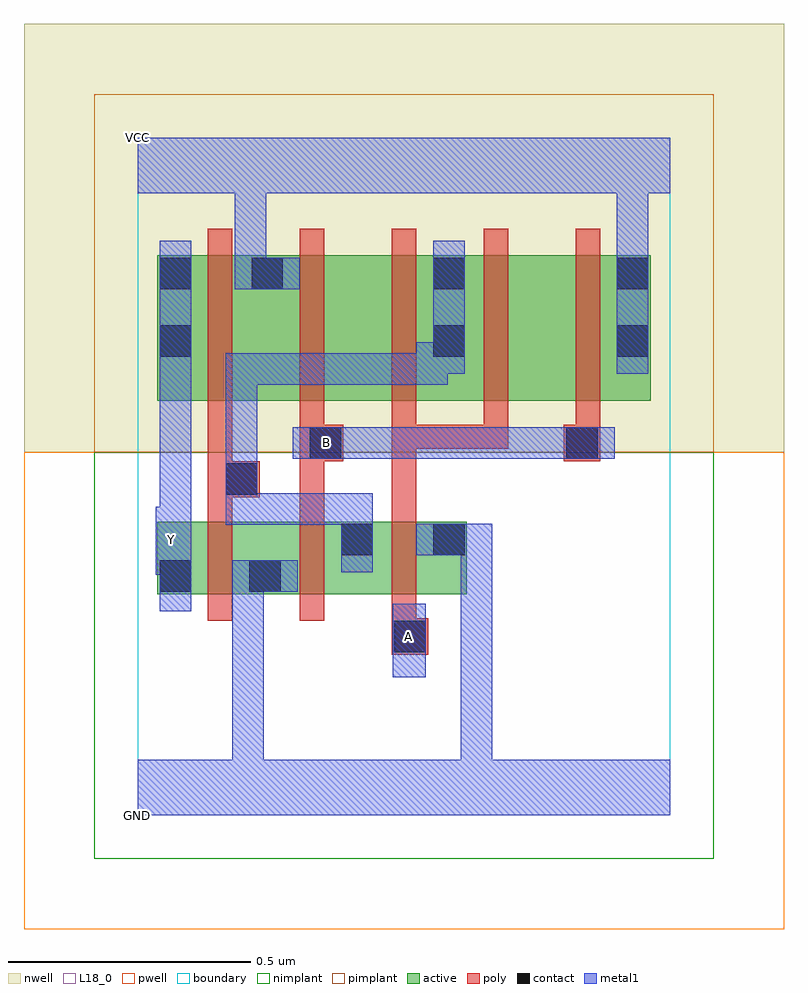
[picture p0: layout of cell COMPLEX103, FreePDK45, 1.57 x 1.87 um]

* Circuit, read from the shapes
.subckt COMPLEX103 A B GND VCC Y
M1 GND n1 Y VSUBS nfet w=0.15u l=0.05u
M2 n1 B GND VSUBS nfet w=0.15u l=0.05u
M3 GND A n1 VSUBS nfet w=0.15u l=0.05u
M4 VCC n1 Y n2 pfet w=0.3u l=0.05u
M5 n3 B VCC n2 pfet w=0.3u l=0.05u
M6 n1 A n3 n2 pfet w=0.3u l=0.05u
M7 n4 A n1 n2 pfet w=0.3u l=0.05u
M8 VCC B n4 n2 pfet w=0.3u l=0.05u
.ends

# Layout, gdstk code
import gdstk
lib = gdstk.Library(unit=1e-6, precision=1e-09)
def R(c, l, rs):  # rectangles x0, y0, x1, y1
    for r in rs: c.add(gdstk.rectangle(r[:2], r[2:], *l))
def A(c, l, x, y, w, h, nx, ny, dx, dy):  # array of equal rectangles
    R(c, l, [(x+i*dx, y+j*dy, x+i*dx+w, y+j*dy+h) for i in range(nx) for j in range(ny)])
active = (1, 0)
pwell = (2, 0)
nwell = (3, 0)
nimplant = (4, 0)
pimplant = (5, 0)
poly = (9, 0)
contact = (10, 0)
metal1 = (11, 0)
L18_0 = (18, 0)
boundary = (235, 0)

complex103 = lib.new_cell('COMPLEX103')
R(complex103, active, [(0.04,0.457,0.115,0.607), (0.04,0.457,0.3,0.607), (0.225,0.457,0.49,0.607), (0.225,0.457,0.3,0.532), (0.415,0.457,0.49,0.607), (0.415,0.457,0.68,0.607), (0.605,0.457,0.68,0.607), (0.04,0.857,0.115,1.157), (0.04,0.857,0.305,1.157), (0.23,0.857,0.305,1.157), (0.23,0.857,0.455,1.157), (0.455,0.857,0.68,1.157), (0.605,0.857,0.68,1.157), (0.605,0.857,0.835,1.157), (0.835,0.857,1.06,1.157), (0.985,0.857,1.06,1.157)])
R(complex103, pwell, [(-0.235,-0.235,1.335,0.75)])
R(complex103, nwell, [(-0.235,0.75,1.335,1.635)])
R(complex103, nimplant, [(-0.09,-0.09,1.19,0.75)])
R(complex103, pimplant, [(-0.09,0.75,1.19,1.49)])
A(complex103, poly, 0.145, 0.402, 0.05, 0.26, 3, 1, 0.19, 0)
A(complex103, poly, 0.335, 0.757, 0.05, 0.095, 4, 1, 0.19, 0)
A(complex103, poly, 0.145, 0.802, 0.05, 0.41, 5, 1, 0.19, 0)
R(complex103, poly, [(0.525,0.332,0.6,0.407), (0.525,0.357,0.575,0.452), (0.145,0.612,0.195,0.707), (0.335,0.612,0.385,0.782), (0.525,0.612,0.575,0.807), (0.145,0.657,0.252,0.732), (0.145,0.682,0.195,0.852), (0.335,0.732,0.425,0.807), (0.88,0.732,0.955,0.807), (0.525,0.757,0.575,0.807), (0.525,0.757,0.765,0.807), (0.715,0.757,0.765,0.807), (0.715,0.757,0.765,0.807), (0.715,0.757,0.765,0.807)])
R(complex103, contact, [(0.53,0.337,0.595,0.402), (0.045,0.462,0.11,0.527), (0.23,0.462,0.295,0.527), (0.42,0.537,0.485,0.602), (0.61,0.537,0.675,0.602), (0.182,0.662,0.247,0.727), (0.355,0.737,0.42,0.802), (0.885,0.737,0.95,0.802), (0.045,0.947,0.11,1.012), (0.61,0.947,0.675,1.012), (0.99,0.947,1.055,1.012), (0.045,1.087,0.11,1.152), (0.235,1.087,0.3,1.152), (0.61,1.087,0.675,1.152), (0.99,1.087,1.055,1.152)])
R(complex103, metal1, [(0,0,1.1,0.115), (0.195,0.05,0.26,0.115), (0.195,0.05,0.26,0.115), (0.195,0.05,0.26,0.115), (0.195,0.05,0.26,0.115), (0.195,0.05,0.26,0.115), (0.195,0.05,0.26,0.115), (0.195,0.05,0.26,0.527), (0.667,0.05,0.732,0.115), (0.667,0.05,0.732,0.115), (0.667,0.05,0.732,0.115), (0.667,0.05,0.732,0.115), (0.667,0.05,0.732,0.115), (0.667,0.05,0.732,0.115), (0.667,0.05,0.732,0.602), (0.527,0.285,0.595,0.437), (0.045,0.422,0.11,0.562), (0.195,0.462,0.33,0.527), (0.037,0.497,0.11,0.637), (0.045,0.497,0.11,0.562), (0.42,0.502,0.485,0.665), (0.575,0.537,0.732,0.602), (0.045,0.572,0.11,0.977), (0.182,0.6,0.247,0.665), (0.182,0.6,0.43,0.665), (0.182,0.6,0.247,0.692), (0.365,0.6,0.43,0.665), (0.365,0.6,0.485,0.665), (0.182,0.627,0.247,0.692), (0.182,0.627,0.247,0.692), (0.182,0.627,0.247,0.955), (0.182,0.627,0.247,0.762), (0.32,0.737,0.457,0.802), (0.392,0.737,0.502,0.802), (0.437,0.737,0.502,0.802), (0.437,0.737,0.64,0.802), (0.575,0.737,0.64,0.802), (0.575,0.737,0.65,0.802), (0.585,0.737,0.65,0.802), (0.585,0.737,0.777,0.802), (0.712,0.737,0.777,0.802), (0.712,0.737,0.875,0.802), (0.81,0.737,0.875,0.802), (0.81,0.737,0.915,0.802), (0.85,0.737,0.985,0.802), (0.182,0.89,0.247,0.955), (0.182,0.89,0.43,0.955), (0.365,0.89,0.43,0.955), (0.365,0.89,0.43,0.955), (0.365,0.89,0.43,0.955), (0.365,0.89,0.64,0.955), (0.575,0.89,0.64,0.977), (0.045,0.912,0.11,1.187), (0.575,0.912,0.675,0.977), (0.61,0.912,0.675,1.187), (0.99,0.912,1.055,1.187), (0.2,1.087,0.335,1.152), (0.2,1.087,0.265,1.35), (0.99,1.122,1.055,1.35), (0,1.285,1.1,1.4), (0.2,1.285,0.265,1.35), (0.2,1.285,0.265,1.35), (0.99,1.285,1.055,1.35), (0.99,1.285,1.055,1.35)])
R(complex103, L18_0, [(0,0,1.1,0.115), (0.195,0.05,0.26,0.115), (0.195,0.05,0.26,0.115), (0.195,0.05,0.26,0.115), (0.195,0.05,0.26,0.115), (0.195,0.05,0.26,0.115), (0.195,0.05,0.26,0.115), (0.195,0.05,0.26,0.527), (0.667,0.05,0.732,0.115), (0.667,0.05,0.732,0.115), (0.667,0.05,0.732,0.115), (0.667,0.05,0.732,0.115), (0.667,0.05,0.732,0.115), (0.667,0.05,0.732,0.115), (0.667,0.05,0.732,0.602), (0.527,0.285,0.595,0.437), (0.527,0.337,0.592,0.402), (0.045,0.422,0.11,0.562), (0.195,0.462,0.33,0.527), (0.037,0.497,0.11,0.637), (0.045,0.497,0.11,0.562), (0.037,0.537,0.102,0.602), (0.575,0.537,0.732,0.602), (0.045,0.572,0.11,0.977), (0.32,0.737,0.457,0.802), (0.357,0.737,0.422,0.802), (0.392,0.737,0.502,0.802), (0.437,0.737,0.502,0.802), (0.437,0.737,0.64,0.802), (0.575,0.737,0.64,0.802), (0.575,0.737,0.65,0.802), (0.585,0.737,0.65,0.802), (0.585,0.737,0.777,0.802), (0.712,0.737,0.777,0.802), (0.712,0.737,0.875,0.802), (0.81,0.737,0.875,0.802), (0.81,0.737,0.915,0.802), (0.85,0.737,0.985,0.802), (0.045,0.912,0.11,1.187), (0.99,0.912,1.055,1.187), (0.2,1.087,0.335,1.152), (0.2,1.087,0.265,1.35), (0.99,1.122,1.055,1.35), (0,1.285,1.1,1.4), (0.2,1.285,0.265,1.35), (0.2,1.285,0.265,1.35), (0.99,1.285,1.055,1.35), (0.99,1.285,1.055,1.35)])
R(complex103, boundary, [(0,0,1.1,1.4)])
complex103.add(gdstk.Label('A', (0.56,0.37), layer=11, texttype=0))
complex103.add(gdstk.Label('B', (0.39,0.77), layer=11, texttype=0))
complex103.add(gdstk.Label('Y', (0.07,0.57), layer=11, texttype=0))
complex103.add(gdstk.Label('VCC', (0,1.4), layer=11, texttype=0))
complex103.add(gdstk.Label('GND', (0,0), layer=11, texttype=0))

lib.write_gds('COMPLEX103.gds')
